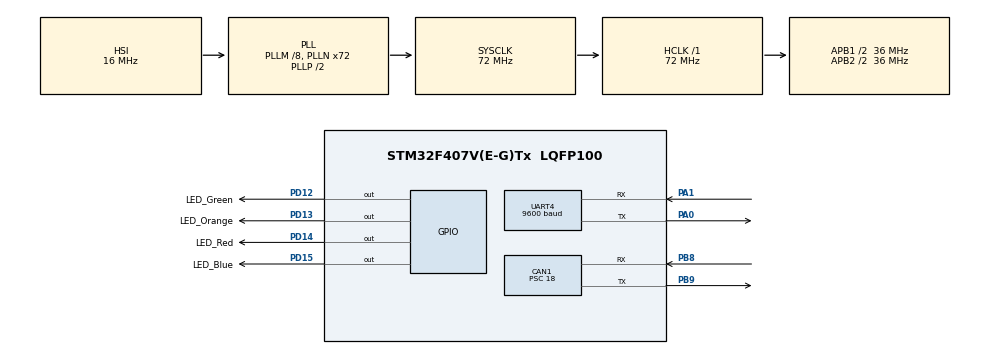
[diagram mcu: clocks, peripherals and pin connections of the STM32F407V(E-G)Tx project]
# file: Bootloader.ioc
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CAN1.BS1=CAN_BS1_2TQ
CAN1.CalculateBaudRate=500000
CAN1.CalculateTimeBit=2000
CAN1.CalculateTimeQuantum=500.0
CAN1.Prescaler=18
Mcu.Family=STM32F4
Mcu.Name=STM32F407V(E-G)Tx
Mcu.Package=LQFP100
NVIC.CAN1_RX0_IRQn=true\:0\:0\:false\:false\:true\:true\:true\:true
NVIC.CAN1_RX1_IRQn=true\:0\:0\:false\:false\:true\:true\:true\:true
NVIC.PriorityGroup=NVIC_PRIORITYGROUP_0
NVIC.TIM6_DAC_IRQn=true\:0\:0\:false\:false\:true\:true\:true\:true
NVIC.UART4_IRQn=true\:0\:0\:false\:false\:true\:true\:true\:true
PA0-WKUP.Mode=Asynchronous
PA0-WKUP.Signal=UART4_TX
PA1.Mode=Asynchronous
PA1.Signal=UART4_RX
PA13.Mode=Serial_Wire
PA13.Signal=SYS_JTMS-SWDIO
PA14.Mode=Serial_Wire
PA14.Signal=SYS_JTCK-SWCLK
PB8.Mode=CAN_Activate
PB8.Signal=CAN1_RX
PB9.Mode=CAN_Activate
PB9.Signal=CAN1_TX
PD12.GPIO_Label=LED_Green
PD12.Signal=GPIO_Output
PD13.GPIO_Label=LED_Orange
PD13.Signal=GPIO_Output
PD14.GPIO_Label=LED_Red
PD14.Signal=GPIO_Output
PD15.GPIO_Label=LED_Blue
PD15.Signal=GPIO_Output
PH0-OSC_IN.Mode=HSE-External-Oscillator
PH0-OSC_IN.Signal=RCC_OSC_IN
PH1-OSC_OUT.Mode=HSE-External-Oscillator
PH1-OSC_OUT.Signal=RCC_OSC_OUT
ProjectManager.HeapSize=0x200
ProjectManager.StackSize=0x400
ProjectManager.TargetToolchain=STM32CubeIDE
RCC.48MHZClocksFreq_Value=20571428.57142857
RCC.AHBFreq_Value=72000000
RCC.APB1CLKDivider=RCC_HCLK_DIV2
RCC.APB1Freq_Value=36000000
RCC.APB1TimFreq_Value=72000000
RCC.APB2CLKDivider=RCC_HCLK_DIV2
RCC.APB2Freq_Value=36000000
RCC.APB2TimFreq_Value=72000000
RCC.CortexFreq_Value=72000000
RCC.HCLKFreq_Value=72000000
RCC.HSE_VALUE=8000000
RCC.HSI_VALUE=16000000
RCC.LSE_VALUE=32768
RCC.PLLM=8
RCC.PLLN=72
RCC.PLLQ=7
RCC.SYSCLKFreq_VALUE=72000000
RCC.SYSCLKSource=RCC_SYSCLKSOURCE_PLLCLK
RCC.VCOOutputFreq_Value=144000000
TIM6.Period=65513
TIM6.Prescaler=1098
UART4.BaudRate=9600
UART4.VirtualMode=Asynchronous
VP_TIM6_VS_ClockSourceINT.Mode=Enable_Timer
board=STM32F407G-DISC1

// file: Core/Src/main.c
/* USER CODE BEGIN Header */
/**
  ******************************************************************************
  * @file           : main.c
  * @brief          : Main program body
  ******************************************************************************
  * @attention
  *
  * Copyright (c) 2025 STMicroelectronics.
  * All rights reserved.
  *
  * This software is licensed under terms that can be found in the LICENSE file
  * in the root directory of this software component.
  * If no LICENSE file comes with this software, it is provided AS-IS.
  *
  ******************************************************************************
  */
/* USER CODE END Header */
#include "main.h"
#include "can.h"
#include "tim.h"
#include "usart.h"
#include "gpio.h"

/* USER CODE BEGIN PV */
uint8_t TxData[8];
CAN_TxHeaderTypeDef TxHeader;
uint8_t RxData[8];
CAN_RxHeaderTypeDef RxHeader;
CAN_FilterTypeDef sFilterConfig;
/* USER CODE END PV */

void SystemClock_Config(void);

int main(void)
{

  /* MCU Configuration--------------------------------------------------------*/

  /* Reset of all peripherals, Initializes the Flash interface and the Systick. */
  HAL_Init();

  /* Configure the system clock */
  SystemClock_Config();

  /* Initialize all configured peripherals */
  MX_GPIO_Init();
  MX_CAN1_Init();
  MX_UART4_Init();
  MX_TIM6_Init();
  /* USER CODE BEGIN 2 */
  HAL_GPIO_WritePin(LED_Green_GPIO_Port, LED_Green_Pin, SET);

  sFilterConfig.FilterBank = 0;
  sFilterConfig.FilterMode = CAN_FILTERMODE_IDMASK;
  sFilterConfig.FilterScale = CAN_FILTERSCALE_32BIT;
  sFilterConfig.FilterIdHigh = 0x0000;
  sFilterConfig.FilterIdLow = 0x0000;
  sFilterConfig.FilterMaskIdHigh = 0x0000;
  sFilterConfig.FilterMaskIdLow = 0x0000;
  sFilterConfig.FilterFIFOAssignment = CAN_FILTER_FIFO0;
  sFilterConfig.FilterActivation = ENABLE;
  sFilterConfig.SlaveStartFilterBank = 14; // if dual CAN (F4/F7/H7 series)

  if (HAL_CAN_ConfigFilter(&hcan1, &sFilterConfig) != HAL_OK)
  {
      Error_Handler();
  }

  HAL_TIM_Base_Start_IT(&htim6);

  if(HAL_CAN_Start(&hcan1) != HAL_OK){
	  HAL_GPIO_WritePin(LED_Green_GPIO_Port, LED_Green_Pin, RESET);
	  HAL_GPIO_WritePin(LED_Red_GPIO_Port, LED_Red_Pin, SET);
  	  Error_Handler();
  }

  if(HAL_CAN_ActivateNotification(&hcan1, CAN_IT_RX_FIFO0_MSG_PENDING) != HAL_OK){
	  HAL_GPIO_WritePin(LED_Green_GPIO_Port, LED_Green_Pin, RESET);
	  HAL_GPIO_WritePin(LED_Red_GPIO_Port, LED_Red_Pin, SET);
  	  Error_Handler();
  }

  if(HAL_CAN_ActivateNotification(&hcan1, CAN_IT_RX_FIFO1_MSG_PENDING) != HAL_OK){
	  HAL_GPIO_WritePin(LED_Green_GPIO_Port, LED_Green_Pin, RESET);
	  HAL_GPIO_WritePin(LED_Red_GPIO_Port, LED_Red_Pin, SET);
	  Error_Handler();
  }

    uint32_t TxMailBoxNum;

    TxData[0] = 'X';

    TxHeader.DLC = 1;
    TxHeader.RTR = CAN_RTR_DATA;
    TxHeader.IDE = CAN_ID_STD;
    TxHeader.ExtId = 0x00;
    TxHeader.StdId = 0x0AD;
    TxHeader.TransmitGlobalTime = DISABLE;

    if(HAL_CAN_AddTxMessage(&hcan1, &TxHeader, TxData, &TxMailBoxNum) != HAL_OK){
    	HAL_GPIO_WritePin(LED_Green_GPIO_Port, LED_Green_Pin, RESET);
    	HAL_GPIO_WritePin(LED_Red_GPIO_Port, LED_Red_Pin, SET);
    	Error_Handler();
    }

    TxData[0] = 'D';
    TxData[1] = 'E';
    TxData[2] = 'S';
    TxData[3] = 'D';

    TxHeader.DLC = 4;
    TxHeader.RTR = CAN_RTR_DATA;
    TxHeader.IDE = CAN_ID_STD;
    TxHeader.ExtId = 0x00;
    TxHeader.StdId = 0x0A9;
    TxHeader.TransmitGlobalTime = DISABLE;

    if(HAL_CAN_AddTxMessage(&hcan1, &TxHeader, TxData, &TxMailBoxNum) != HAL_OK){
    	HAL_GPIO_WritePin(LED_Green_GPIO_Port, LED_Green_Pin, RESET);
    	HAL_GPIO_WritePin(LED_Red_GPIO_Port, LED_Red_Pin, SET);
    	Error_Handler();
    }

    TxData[0] = 'S';
    TxData[1] = 'U';
    TxData[2] = 'N';
    TxData[3] = 'B';
    TxData[4] = 'E';
    TxData[5] = 'A';
    TxData[6] = 'M';

    TxHeader.DLC = 7;
    TxHeader.RTR = CAN_RTR_DATA;
    TxHeader.IDE = CAN_ID_STD;
    TxHeader.ExtId = 0x00;
    TxHeader.StdId = 0x0AA;
    TxHeader.TransmitGlobalTime = DISABLE;

  /* USER CODE END 2 */

  /* Infinite loop */
  /* USER CODE BEGIN WHILE */
  while (1)
  {
	  if(HAL_CAN_AddTxMessage(&hcan1, &TxHeader, TxData, &TxMailBoxNum) != HAL_OK){
	      	HAL_GPIO_WritePin(LED_Green_GPIO_Port, LED_Green_Pin, RESET);
	      	HAL_GPIO_WritePin(LED_Red_GPIO_Port, LED_Red_Pin, SET);
	      	Error_Handler();
	  }
	  HAL_Delay(1000);
    /* USER CODE END WHILE */

  }
}

void SystemClock_Config(void)
{
  RCC_OscInitTypeDef RCC_OscInitStruct = {0};
  RCC_ClkInitTypeDef RCC_ClkInitStruct = {0};

  /** Configure the main internal regulator output voltage
  */
  __HAL_RCC_PWR_CLK_ENABLE();
  __HAL_PWR_VOLTAGESCALING_CONFIG(PWR_REGULATOR_VOLTAGE_SCALE1);

  /** Initializes the RCC Oscillators according to the specified parameters
  * in the RCC_OscInitTypeDef structure.
  */
  RCC_OscInitStruct.OscillatorType = RCC_OSCILLATORTYPE_HSI;
  RCC_OscInitStruct.HSIState = RCC_HSI_ON;
  RCC_OscInitStruct.HSICalibrationValue = RCC_HSICALIBRATION_DEFAULT;
  RCC_OscInitStruct.PLL.PLLState = RCC_PLL_ON;
  RCC_OscInitStruct.PLL.PLLSource = RCC_PLLSOURCE_HSI;
  RCC_OscInitStruct.PLL.PLLM = 8;
  RCC_OscInitStruct.PLL.PLLN = 72;
  RCC_OscInitStruct.PLL.PLLP = RCC_PLLP_DIV2;
  RCC_OscInitStruct.PLL.PLLQ = 7;
  if (HAL_RCC_OscConfig(&RCC_OscInitStruct) != HAL_OK)
  {
    Error_Handler();
  }

  /** Initializes the CPU, AHB and APB buses clocks
  */
  RCC_ClkInitStruct.ClockType = RCC_CLOCKTYPE_HCLK|RCC_CLOCKTYPE_SYSCLK
                              |RCC_CLOCKTYPE_PCLK1|RCC_CLOCKTYPE_PCLK2;
  RCC_ClkInitStruct.SYSCLKSource = RCC_SYSCLKSOURCE_PLLCLK;
  RCC_ClkInitStruct.AHBCLKDivider = RCC_SYSCLK_DIV1;
  RCC_ClkInitStruct.APB1CLKDivider = RCC_HCLK_DIV2;
  RCC_ClkInitStruct.APB2CLKDivider = RCC_HCLK_DIV2;

  if (HAL_RCC_ClockConfig(&RCC_ClkInitStruct, FLASH_LATENCY_2) != HAL_OK)
  {
    Error_Handler();
  }
}

void Error_Handler(void)
{
  __disable_irq();
  while (1)
  {
  }
}
